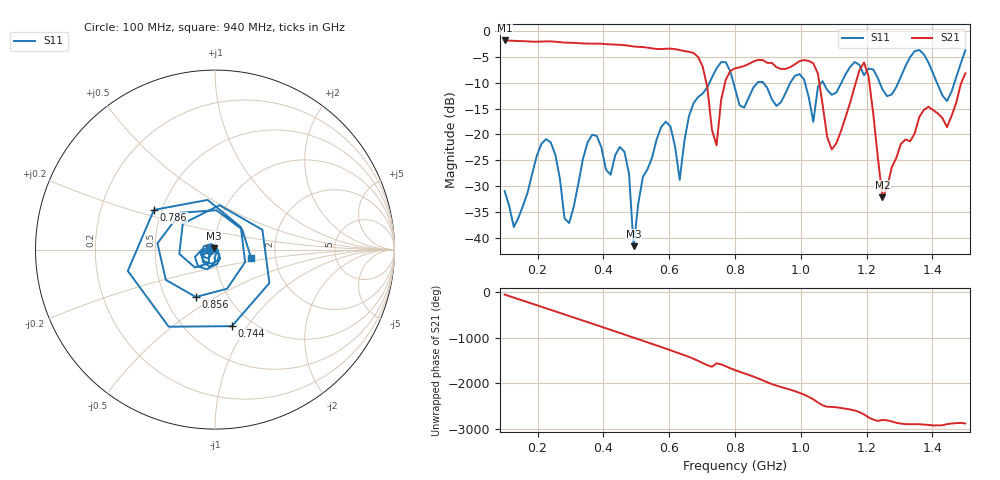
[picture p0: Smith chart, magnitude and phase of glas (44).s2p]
! NanoVNA-App
! Date: 2025-09-25 15:55:49
! Start: 100MHz Stop: 1,5GHz Points: 101
! S-Parameter data: F S11 S21 S12 S22
# Hz S RI R 50
!  Frequency  S11_Real  S11_Imag  S21_Real  S21_Imag  S12_Real  S12_Imag  S22_Real  S22_Imag
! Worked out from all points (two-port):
!   101 points, 100 MHz to 1.5 GHz, reference 50 ohm
!   highest |S21| = -1.80 dB at 100 MHz (marker M1); lowest = -32.2 dB at 1.248 GHz (marker M2)
!   |S21| within 3 dB of the highest: start of sweep to 684.4 MHz
!   lowest |S11| = -41.7 dB at 492 MHz (marker M3), VSWR 1.02, Z = 49.5 + j0.626 ohm
!   |S11| at or under -10 dB: start of sweep to 722.4 MHz; 795.4 MHz to 868 MHz (72.63 MHz wide, 8.73 % of centre); 886 MHz to 967.8 MHz (81.82 MHz wide, 8.83 % of centre) (the widest 3 of 7)
!   S12 and S22 are empty: the file has one direction only
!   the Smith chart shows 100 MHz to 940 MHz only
!   S11 on the Smith chart (normalised r, x): 100 MHz: 0.95, -0.01; 744 MHz: 0.81, -0.85; 786 MHz: 0.45, +0.24; 856 MHz: 0.71, -0.41; 940 MHz: 1.49, -0.14
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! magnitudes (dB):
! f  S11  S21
! 100 MHz  -31.0  -1.8
! 128 MHz  -37.9  -1.9
! 226 MHz  -20.9  -2.0
! 296 MHz  -37.2  -2.2
! 338 MHz  -24.8  -2.4
! 464 MHz  -23.4  -2.7
! 492 MHz  -41.7  -3.0
! 576 MHz  -18.5  -3.5
! 632 MHz  -28.8  -3.7
! 702 MHz  -12.1  -6.9
! 744 MHz  -7.2  -22.1
! 786 MHz  -7.8  -7.7
! 800 MHz  -11.1  -7.2
! 856 MHz  -10.9  -5.9
! 940 MHz  -13.7  -7.3
! 1.038 GHz  -17.6  -6.2
! 1.094 GHz  -12.3  -22.9
! 1.192 GHz  -8.5  -6.1
! 1.248 GHz  -11.3  -32.2
! 1.276 GHz  -12.3  -26.4
! 1.444 GHz  -13.6  -18.6
! 1.5 GHz  -3.7  -8.2
